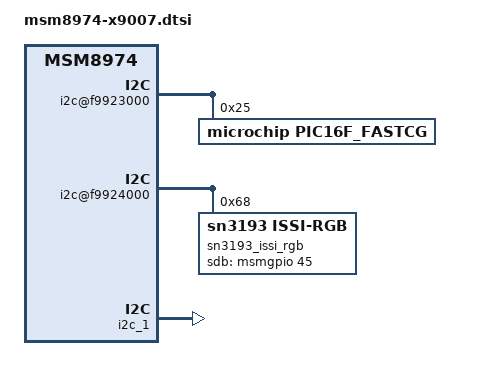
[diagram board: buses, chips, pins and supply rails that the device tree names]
/* Copyright (c) 2012-2013, The Linux Foundation. All rights reserved.
 *
 * This program is free software; you can redistribute it and/or modify
 * it under the terms of the GNU General Public License version 2 and
 * only version 2 as published by the Free Software Foundation.
 *
 * This program is distributed in the hope that it will be useful,
 * but WITHOUT ANY WARRANTY; without even the implied warranty of
 * MERCHANTABILITY or FITNESS FOR A PARTICULAR PURPOSE.  See the
 * GNU General Public License for more details.
 */

/include/ "msm8974-oppo-common.dtsi"
/include/ "msm8974-oppo-camera.dtsi"
/include/ "msm8974-oppo-camera-sensor.dtsi"
/include/ "msm8974-oppo-input.dtsi"
/include/ "msm8974-oppo-usb.dtsi"
/include/ "msm8974-oppo-misc.dtsi"
/include/ "msm8974-oppo-pm.dtsi"
/include/ "msm8974-oppo-nfc.dtsi"
/include/ "msm8974-oppo-regulator.dtsi"
/include/ "msm8974-oppo-sound.dtsi"
/include/ "msm8974-oppo-leds.dtsi"

&soc {
	i2c@f9923000 {
		pic16f_fastcg@25 {
			status = "okay";
			compatible = "microchip,pic16f_fastcg";
			reg = <0x25>;
		};
	};
	i2c@f9924000 {
		sn3193_issi_rgb@68 {
			compatible = "sn3193,issi-rgb";
			reg = <0x68>;
			sn3193,sdb-gpio = <&msmgpio 45 0x00>;
		};
	};
};

&i2c_1 {
	status = "ok";
};

&spi_0 {
	status = "disabled";
};
